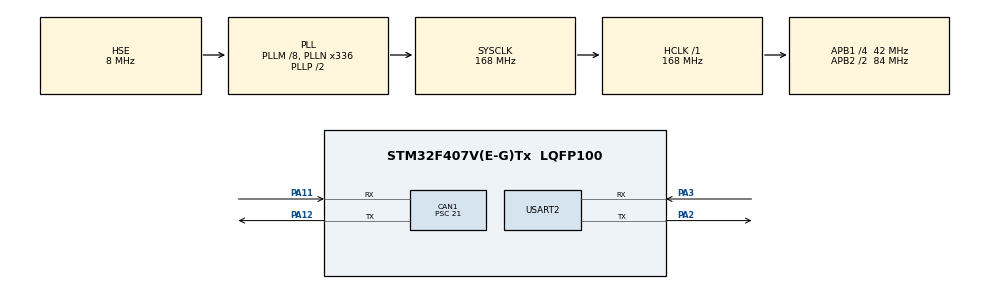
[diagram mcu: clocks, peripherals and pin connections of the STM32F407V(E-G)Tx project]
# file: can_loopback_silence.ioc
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CAN1.BS1=CAN_BS1_2TQ
CAN1.CalculateBaudRate=500000
CAN1.CalculateTimeBit=2000
CAN1.CalculateTimeQuantum=500.0
CAN1.Mode=CAN_MODE_SILENT_LOOPBACK
CAN1.NART=ENABLE
CAN1.Prescaler=21
Mcu.Family=STM32F4
Mcu.Name=STM32F407V(E-G)Tx
Mcu.Package=LQFP100
NVIC.PriorityGroup=NVIC_PRIORITYGROUP_4
PA11.Mode=CAN_Activate
PA11.Signal=CAN1_RX
PA12.Mode=CAN_Activate
PA12.Signal=CAN1_TX
PA13.Mode=Serial_Wire
PA13.Signal=SYS_JTMS-SWDIO
PA14.Mode=Serial_Wire
PA14.Signal=SYS_JTCK-SWCLK
PA2.Mode=Asynchronous
PA2.Signal=USART2_TX
PA3.Mode=Asynchronous
PA3.Signal=USART2_RX
PC14-OSC32_IN.Mode=LSE-External-Oscillator
PC14-OSC32_IN.Signal=RCC_OSC32_IN
PC15-OSC32_OUT.Mode=LSE-External-Oscillator
PC15-OSC32_OUT.Signal=RCC_OSC32_OUT
PH0-OSC_IN.Mode=HSE-External-Oscillator
PH0-OSC_IN.Signal=RCC_OSC_IN
PH1-OSC_OUT.Mode=HSE-External-Oscillator
PH1-OSC_OUT.Signal=RCC_OSC_OUT
ProjectManager.HeapSize=0x200
ProjectManager.StackSize=0x400
ProjectManager.TargetToolchain=STM32CubeIDE
RCC.48MHZClocksFreq_Value=84000000
RCC.AHBFreq_Value=168000000
RCC.APB1CLKDivider=RCC_HCLK_DIV4
RCC.APB1Freq_Value=42000000
RCC.APB1TimFreq_Value=84000000
RCC.APB2CLKDivider=RCC_HCLK_DIV2
RCC.APB2Freq_Value=84000000
RCC.APB2TimFreq_Value=168000000
RCC.CortexFreq_Value=168000000
RCC.HCLKFreq_Value=168000000
RCC.HSE_VALUE=8000000
RCC.HSI_VALUE=16000000
RCC.PLLM=8
RCC.PLLN=336
RCC.PLLSourceVirtual=RCC_PLLSOURCE_HSE
RCC.SYSCLKFreq_VALUE=168000000
RCC.SYSCLKSource=RCC_SYSCLKSOURCE_PLLCLK
RCC.VCOOutputFreq_Value=336000000
USART2.VirtualMode=VM_ASYNC
board=custom

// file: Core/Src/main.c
/* USER CODE BEGIN Header */
/**
  ******************************************************************************
  * @file           : main.c
  * @brief          : Main program body
  ******************************************************************************
  * @attention
  *
  * Copyright (c) 2026 STMicroelectronics.
  * All rights reserved.
  *
  * This software is licensed under terms that can be found in the LICENSE file
  * in the root directory of this software component.
  * If no LICENSE file comes with this software, it is provided AS-IS.
  *
  ******************************************************************************
  */
/* USER CODE END Header */
#include "main.h"
#include "can.h"
#include "usart.h"
#include "gpio.h"

void SystemClock_Config(void);

int main(void)
{

  /* MCU Configuration--------------------------------------------------------*/

  /* Reset of all peripherals, Initializes the Flash interface and the Systick. */
  HAL_Init();

  /* Configure the system clock */
  SystemClock_Config();

  /* Initialize all configured peripherals */
  MX_GPIO_Init();
  MX_CAN1_Init();
  MX_USART2_UART_Init();
  /* USER CODE BEGIN 2 */
  CAN_Filter_Config();

  if (HAL_CAN_Start(&hcan1) != HAL_OK)
  {
    /* Start Error */
    Error_Handler();
  }

  printf("CAN initialization complete.\r\n");
  CAN_TxMsgTypeDef TxMessage;
  TxMessage.StdId = 0x123;
  TxMessage.DLC = 8;
  for (int i = 0; i < 8; i++)
  {
    TxMessage.Data[i] = i;
    printf("TxMessage.Data[%d] = 0x%X\r\n", i, TxMessage.Data[i]);
  }
  CAN_Send_Msg(&TxMessage);
  printf("CAN message sent.\r\n");
  /* USER CODE END 2 */

  /* Infinite loop */
  /* USER CODE BEGIN WHILE */
  while (1)
  {
	for (int i = 0; i < 8; i++)
		{
		  TxMessage.Data[i] = (TxMessage.Data[i] + 1) % 256; // Increment data and wrap around at 256
		}
    CAN_Send_Msg(&TxMessage);
    HAL_Delay(1000); // Delay for 1 second
    // 发送之后，立刻检查 FIFO0
    if (HAL_CAN_GetRxFifoFillLevel(&hcan1, CAN_RX_FIFO0) > 0) {
        CAN_RxHeaderTypeDef RxHeader;
        uint8_t RxData[8];
        HAL_CAN_GetRxMessage(&hcan1, CAN_RX_FIFO0, &RxHeader, RxData);
        // 把收到的数据用串口打印出来
        printf("\r\nReceived CAN message with StdId: 0x%lX, DLC: %ld\r\n", RxHeader.StdId, RxHeader.DLC);
        for (int i = 0; i < 8; i++) {
            printf("Data[%d]: 0x%X\r\n", i, RxData[i]);
        }
    }
    /* USER CODE END WHILE */

  }
}

void SystemClock_Config(void)
{
  RCC_OscInitTypeDef RCC_OscInitStruct = {0};
  RCC_ClkInitTypeDef RCC_ClkInitStruct = {0};

  /** Configure the main internal regulator output voltage
  */
  __HAL_RCC_PWR_CLK_ENABLE();
  __HAL_PWR_VOLTAGESCALING_CONFIG(PWR_REGULATOR_VOLTAGE_SCALE1);

  /** Initializes the RCC Oscillators according to the specified parameters
  * in the RCC_OscInitTypeDef structure.
  */
  RCC_OscInitStruct.OscillatorType = RCC_OSCILLATORTYPE_HSE;
  RCC_OscInitStruct.HSEState = RCC_HSE_ON;
  RCC_OscInitStruct.PLL.PLLState = RCC_PLL_ON;
  RCC_OscInitStruct.PLL.PLLSource = RCC_PLLSOURCE_HSE;
  RCC_OscInitStruct.PLL.PLLM = 8;
  RCC_OscInitStruct.PLL.PLLN = 336;
  RCC_OscInitStruct.PLL.PLLP = RCC_PLLP_DIV2;
  RCC_OscInitStruct.PLL.PLLQ = 4;
  if (HAL_RCC_OscConfig(&RCC_OscInitStruct) != HAL_OK)
  {
    Error_Handler();
  }

  /** Initializes the CPU, AHB and APB buses clocks
  */
  RCC_ClkInitStruct.ClockType = RCC_CLOCKTYPE_HCLK|RCC_CLOCKTYPE_SYSCLK
                              |RCC_CLOCKTYPE_PCLK1|RCC_CLOCKTYPE_PCLK2;
  RCC_ClkInitStruct.SYSCLKSource = RCC_SYSCLKSOURCE_PLLCLK;
  RCC_ClkInitStruct.AHBCLKDivider = RCC_SYSCLK_DIV1;
  RCC_ClkInitStruct.APB1CLKDivider = RCC_HCLK_DIV4;
  RCC_ClkInitStruct.APB2CLKDivider = RCC_HCLK_DIV2;

  if (HAL_RCC_ClockConfig(&RCC_ClkInitStruct, FLASH_LATENCY_5) != HAL_OK)
  {
    Error_Handler();
  }
}

void Error_Handler(void)
{
  /* USER CODE BEGIN Error_Handler_Debug */
  /* User can add his own implementation to report the HAL error return state */
  __disable_irq();
  while (1)
  {
    printf("Error occurred! Please check the system.\r\n");
    HAL_Delay(1000); // Delay for 1 second
  }
  /* USER CODE END Error_Handler_Debug */
}
